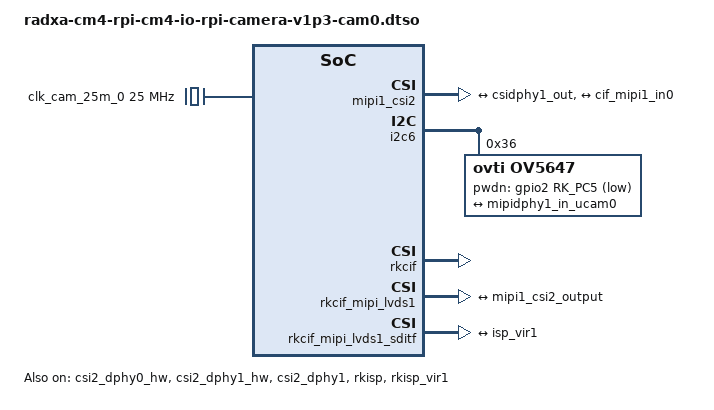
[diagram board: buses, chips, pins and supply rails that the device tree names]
/dts-v1/;
/plugin/;

#include <dt-bindings/gpio/gpio.h>
#include <dt-bindings/pinctrl/rockchip.h>

/ {
	metadata {
		title = "Enable Raspberry Pi Camera V1.3 on CAM0";
		compatible = "radxa,cm4-rpi-cm4-io";
		category = "camera";
		exclusive = "GPIO2_C5", "csi2_dphy1", "i2c6";
		description = "Enable Raspberry Pi Camera V1.3 on CAM0.";
	};
};

&{/} {
	clk_cam_25m_0: external-camera-clock-25m-0 {
		status = "okay";
		compatible = "fixed-clock";
		clock-frequency = <25000000>;
		clock-output-names = "clk_cam_25m_0";
		#clock-cells = <0>;
	};
};

&csi2_dphy0_hw {
	status = "okay";
};

&csi2_dphy1_hw {
	status = "okay";
};

&csi2_dphy1 {
	status = "okay";

	ports {
		#address-cells = <1>;
		#size-cells = <0>;

		port@0 {
			reg = <0>;
			#address-cells = <1>;
			#size-cells = <0>;

			mipidphy1_in_ucam0: endpoint@1 {
				reg = <1>;
				remote-endpoint = <&ov5647_out0>;
				data-lanes = <1 2>;
			};
		};

		port@1 {
			reg = <1>;
			#address-cells = <1>;
			#size-cells = <0>;

			csidphy1_out: endpoint@0 {
				reg = <0>;
				remote-endpoint = <&mipi1_csi2_input>;
			};
		};
	};
};

&mipi1_csi2 {
	status = "okay";

	ports {
		#address-cells = <1>;
		#size-cells = <0>;

		port@0 {
			reg = <0>;
			#address-cells = <1>;
			#size-cells = <0>;

			mipi1_csi2_input: endpoint@1 {
				reg = <1>;
				remote-endpoint = <&csidphy1_out>;
			};
		};

		port@1 {
			reg = <1>;
			#address-cells = <1>;
			#size-cells = <0>;

			mipi1_csi2_output: endpoint@0 {
				reg = <0>;
				remote-endpoint = <&cif_mipi1_in0>;
			};
		};
	};
};

&i2c6 {
	status = "okay";
	pinctrl-0 = <&i2c6m3_xfer>;
	pinctrl-names = "default";
	#address-cells = <1>;
	#size-cells = <0>;

	ov5647: ov5647@36 {
		status = "okay";
		compatible = "ovti,ov5647";
		reg = <0x36>;

		clocks = <&clk_cam_25m_0>;
		pwdn-gpios = <&gpio2 RK_PC5 GPIO_ACTIVE_LOW>;
		clock-names = "xvclk";

		rockchip,camera-module-index = <0>;
		rockchip,camera-module-facing = "back";
		rockchip,camera-module-name = "rpi-camera-v1p3";
		rockchip,camera-module-lens-name = "default";

		port {
			ov5647_out0: endpoint {
				remote-endpoint = <&mipidphy1_in_ucam0>;
				data-lanes = <1 2>;
			};
		};
	};
};

&rkcif {
	status = "okay";
};

&rkcif_mmu {
	status = "okay";
};

&rkcif_mipi_lvds1 {
	status = "okay";

	port {
		cif_mipi1_in0: endpoint {
			remote-endpoint = <&mipi1_csi2_output>;
		};
	};
};

&rkcif_mipi_lvds1_sditf {
	status = "okay";

	port {
		mipi_lvds1_sditf: endpoint {
			remote-endpoint = <&isp_vir1>;
		};
	};
};

&rkisp {
	status = "okay";
};

&rkisp_mmu {
	status = "okay";
};

&rkisp_vir1 {
	status = "okay";

	port {
		#address-cells = <1>;
		#size-cells = <0>;

		isp_vir1: endpoint@0 {
			reg = <0>;
			remote-endpoint = <&mipi_lvds1_sditf>;
		};
	};
};
